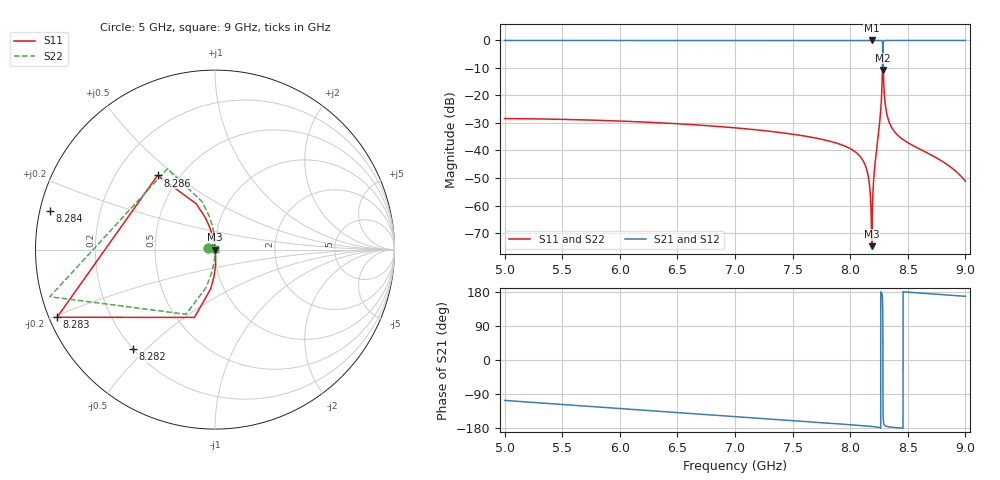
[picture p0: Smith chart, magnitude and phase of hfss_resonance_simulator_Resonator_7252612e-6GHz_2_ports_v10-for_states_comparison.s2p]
! Touchstone file exported from HFSS 2024.1.0
!  File:  C:/Users/phobo/Documents/Ansoft/hfss_resonance_simulator.aedt
!  Generated:  07:35:36 AM May 30, 2025
!  Design:  Resonator_7252612e-6GHz_2_ports_v10
!  Project:  hfss_resonance_simulator
!  Setup:  Setup1
!  Solution:  Sweep
# GHz S MA R 50.000000
! Terminal data exported
! Port[1] = 1
! Port[2] = 2
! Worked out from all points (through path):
!   5001 points, 5 GHz to 9 GHz, reference 50 ohm
!   highest |S21| = 0.00 dB at 8.187 GHz (marker M1); lowest = -10.8 dB at 8.283 GHz (marker M2)
!   lowest |S11| = -74.8 dB at 8.187 GHz (marker M3), VSWR 1.00, Z = 50 - j0.00315 ohm
!   |S11| at or under -10 dB: start of sweep to 8.28 GHz; 8.287 GHz to end of sweep
!   |S22| runs from -74.8 to -0.4 dB; largest |S21 - S12| = 9.1e-07
!   S11 on the Smith chart (normalised r, x): 5 GHz: 0.93, +0.02; 8.282 GHz: 0.20, -0.46; 8.283 GHz: 0.02, -0.21; 8.284 GHz: 0.03, +0.11; 8.286 GHz: 0.38, +0.43; 9 GHz: 1.00, +0.01
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5  0.03809 164.1  0.9993 -106.6  0.9993 -106.6  0.03809 162.6
! Gamma 0 0 0 0
! Port Impedance 50 0 50 0
5.6672  0.03608 149.8  0.9994 -120.9  0.9994 -120.9  0.03608 148.5
6.3336  0.03197 135.7  0.9995 -135.1  0.9995 -135.1  0.03198 134.1
7  0.02583 121.8  0.9997 -149.3  0.9997 -149.3  0.02583 119.6
7.6672  0.01735 107.9  0.9998 -163.6  0.9998 -163.6  0.01735 104.8
8.076  0.008231 99.2  1 -172.6  1 -172.6  0.008231 95.7
8.1408  0.004694 96.9  1 -174.1  1 -174.1  0.004694 94.9
8.1584  0.003255 95.6  1 -174.6  1 -174.6  0.003255 95.3
8.1736  0.001705 92.4  1 -175.0  1 -175.0  0.001705 97.7
8.1872  0.0001824 -10.0  1 -175.3  1 -175.3  0.0001824 -160.7
8.2008  0.00233 -78.2  1 -175.7  1 -175.7  0.00233 -93.3
8.2168  0.006081 -81.3  1 -176.3  1 -176.3  0.006081 -91.3
8.2552  0.03136 -84.7  0.9995 -178.5  0.9995 -178.5  0.03136 -92.4
8.2688  0.07104 -87.4  0.9975 178.9  0.9975 178.9  0.07104 -94.8
8.2824  0.7188 -129.6  0.6952 136.8  0.6952 136.8  0.7188 -136.9
8.2832  0.957 -156.8  0.29 109.6  0.29 109.6  0.957 -164.1
8.284  0.9434 166.9  0.3315 -106.7  0.3315 -106.7  0.9434 159.7
8.2856  0.5225 127.8  0.8526 -145.9  0.8526 -145.9  0.5225 120.5
8.304  0.07065 99.9  0.9975 -173.7  0.9975 -173.7  0.07065 92.7
8.3336  0.03502 97.2  0.9994 -176.3  0.9994 -176.3  0.03502 90.1
8.44  0.01694 94.3  0.9999 -179.6  0.9999 -179.6  0.01694 86.6
9  0.002774 94.2  1 168.1  1 168.1  0.002774 62.1
